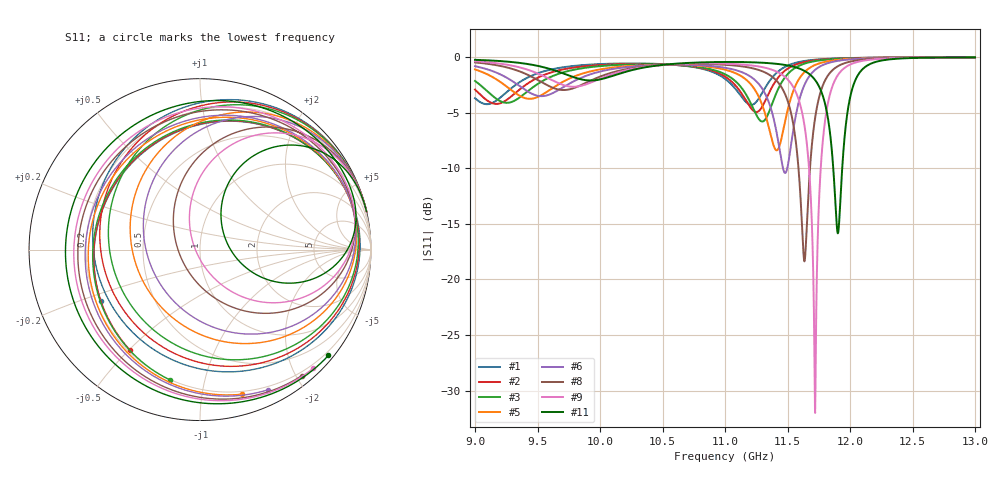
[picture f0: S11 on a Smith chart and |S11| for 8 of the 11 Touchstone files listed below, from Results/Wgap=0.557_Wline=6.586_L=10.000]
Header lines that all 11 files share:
! TOUCHSTONE file generated by CST DESIGN STUDIO
! Project name: C:\Work\MatlabApps\UnitCellOptimizationMatlab\CST\unitcell.cst
! Tree item: Tasks\Sweep1\SPara1\S-Parameters
! Header version: 2024
! Port assignment regex: !\s*Touchstone port\s*([0-9]+)\s*=\s*(CST MWS port|CST DES external port|CST DES block port)\s*(.+)\s* \(\"(.*)\"\)(\s*mode\s*([0-9]+))?.*
! Touchstone port assignment:
! Touchstone port 1 = CST DES external port 1 ("")
# GHz S MA R 50
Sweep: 9 GHz to 13 GHz
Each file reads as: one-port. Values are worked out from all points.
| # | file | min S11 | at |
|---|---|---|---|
| 1 | DS_for_MWS-run-0001.s1p | -4.3 dB | 11.21 GHz |
| 2 | DS_for_MWS-run-0002.s1p | -4.9 dB | 11.25 GHz |
| 3 | DS_for_MWS-run-0003.s1p | -5.8 dB | 11.3 GHz |
| 4 | DS_for_MWS-run-0004.s1p | -6.9 dB | 11.35 GHz |
| 5 | DS_for_MWS-run-0005.s1p | -8.4 dB | 11.41 GHz |
| 6 | DS_for_MWS-run-0006.s1p | -10.4 dB | 11.48 GHz |
| 7 | DS_for_MWS-run-0007.s1p | -13.4 dB | 11.55 GHz |
| 8 | DS_for_MWS-run-0008.s1p | -18.4 dB | 11.63 GHz |
| 9 | DS_for_MWS-run-0009.s1p | -32.0 dB | 11.72 GHz |
| 10 | DS_for_MWS-run-0010.s1p | -23.1 dB | 11.81 GHz |
| 11 | DS_for_MWS-run-0011.s1p | -15.8 dB | 11.9 GHz |
